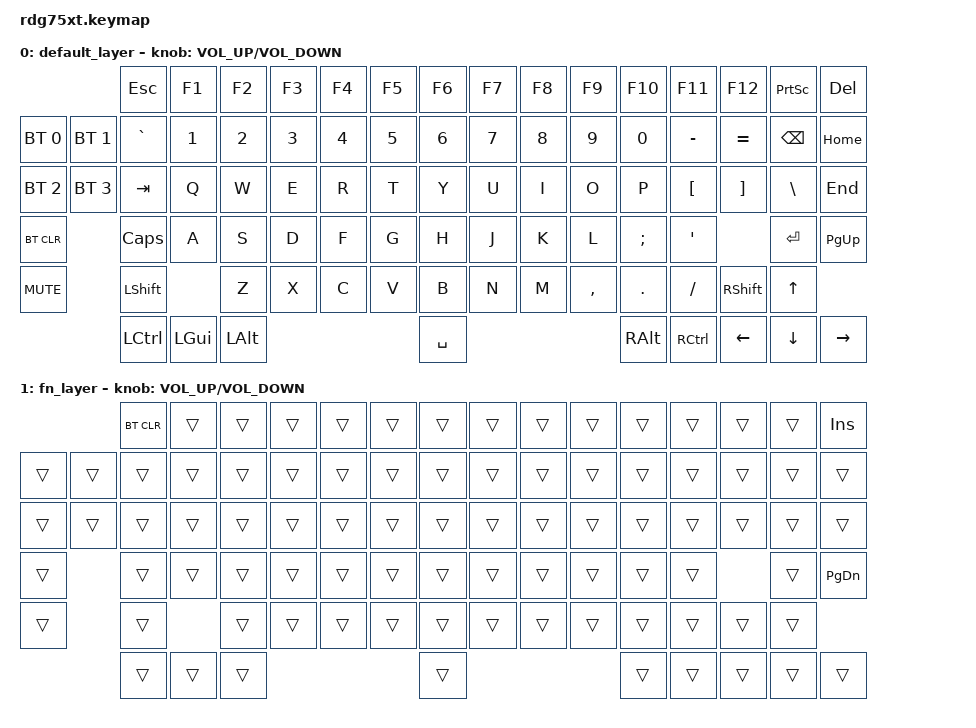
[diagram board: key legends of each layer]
/*
 * Copyright (c) 2022 Ramon Imbao
 *
 * SPDX-License-Identifier: MIT
 */

#include <behaviors.dtsi>
#include <dt-bindings/zmk/keys.h>
#include <dt-bindings/zmk/bt.h>

/ {
    macros {
    };

    keymap {
        compatible = "zmk,keymap";

        default_layer {
            bindings = <
                              &kp ESC    &kp F1    &kp F2  &kp F3  &kp F4  &kp F5     &kp F6  &kp F7  &kp F8     &kp F9   &kp F10    &kp F11    &kp F12  &kp PSCRN    &kp DEL
&bt BT_SEL 0  &bt BT_SEL 1  &kp GRAVE    &kp N1    &kp N2  &kp N3  &kp N4  &kp N5     &kp N6  &kp N7  &kp N8     &kp N9    &kp N0  &kp MINUS  &kp EQUAL   &kp BSPC   &kp HOME
&bt BT_SEL 2  &bt BT_SEL 3    &kp TAB     &kp Q     &kp W   &kp E   &kp R   &kp T      &kp Y   &kp U   &kp I      &kp O     &kp P   &kp LBKT   &kp RBKT   &kp BSLH    &kp END
  &bt BT_CLR                 &kp CAPS     &kp A     &kp S   &kp D   &kp F   &kp G      &kp H   &kp J   &kp K      &kp L  &kp SEMI   &kp APOS             &kp ENTER  &kp PG_UP
  &kp C_MUTE                &kp LSHFT               &kp Z   &kp X   &kp C   &kp V      &kp B   &kp N   &kp M  &kp COMMA   &kp DOT  &kp SLASH  &kp RSHFT     &kp UP
                            &kp LCTRL  &kp LGUI  &kp LALT                          &kp SPACE                             &kp RALT  &kp RCTRL   &kp LEFT   &kp DOWN  &kp RIGHT
            >;

            sensor-bindings = <&inc_dec_kp C_VOLUME_UP C_VOLUME_DOWN>;
        };

        fn_layer {
            bindings = <
                &bt BT_CLR  &trans  &trans  &trans  &trans  &trans  &trans  &trans  &trans  &trans  &trans  &trans  &trans  &trans    &kp INS
&trans  &trans      &trans  &trans  &trans  &trans  &trans  &trans  &trans  &trans  &trans  &trans  &trans  &trans  &trans  &trans     &trans
&trans  &trans      &trans  &trans  &trans  &trans  &trans  &trans  &trans  &trans  &trans  &trans  &trans  &trans  &trans  &trans     &trans
&trans              &trans  &trans  &trans  &trans  &trans  &trans  &trans  &trans  &trans  &trans  &trans  &trans          &trans  &kp PG_DN
&trans              &trans          &trans  &trans  &trans  &trans  &trans  &trans  &trans  &trans  &trans  &trans  &trans  &trans
                    &trans  &trans  &trans                          &trans                          &trans  &trans  &trans  &trans     &trans
            >;

            sensor-bindings = <&inc_dec_kp C_VOLUME_UP C_VOLUME_DOWN>;
        };
    };
};
